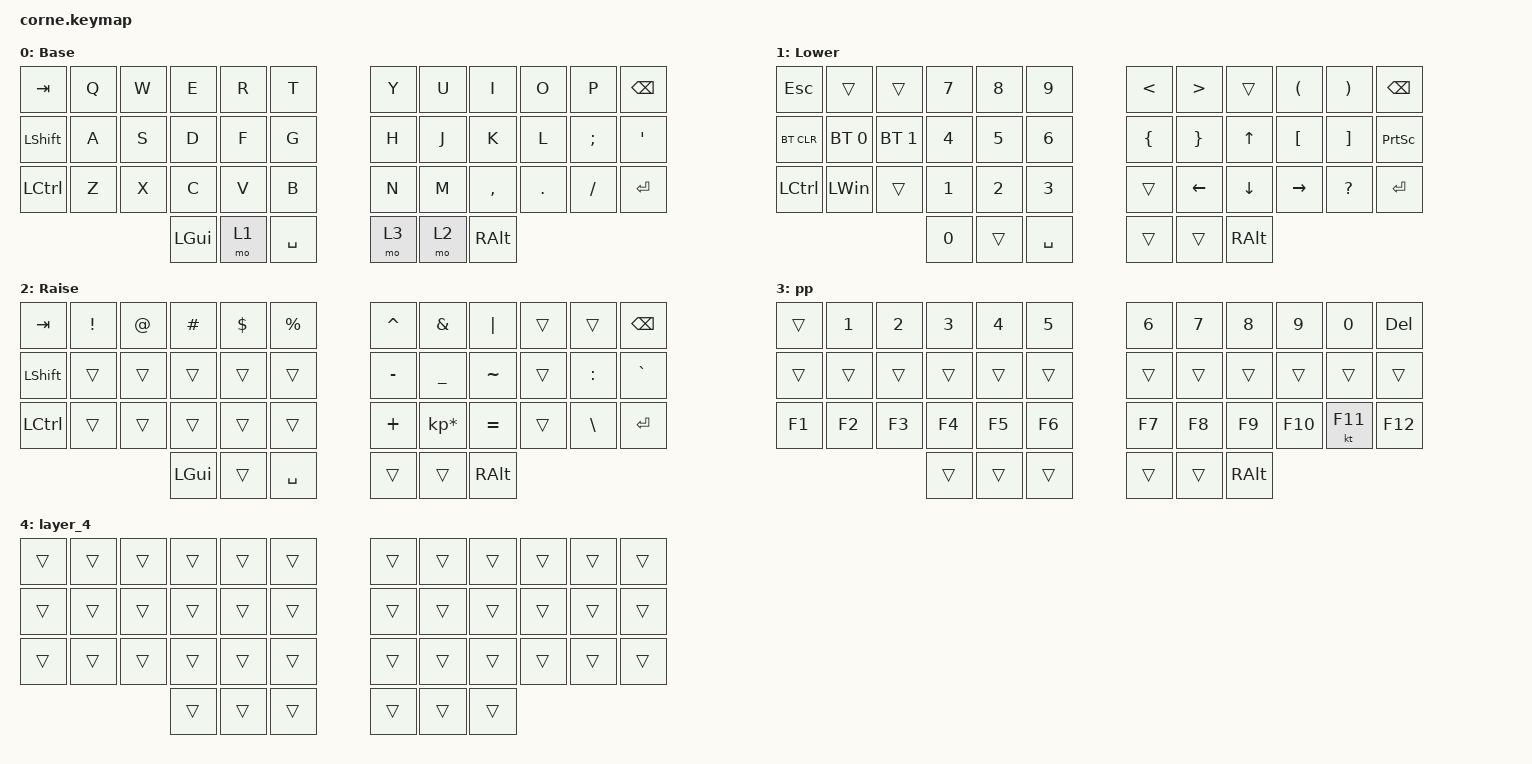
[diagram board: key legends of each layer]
/*
 * Copyright (c) 2020 The ZMK Contributors
 *
 * SPDX-License-Identifier: MIT
 */

#include <behaviors.dtsi>
#include <dt-bindings/zmk/bt.h>
#include <dt-bindings/zmk/keys.h>

/ {
    keymap {
        compatible = "zmk,keymap";

        default_layer {
            // -----------------------------------------------------------------------------------------
            // |  TAB |  Q  |  W  |  E  |  R  |  T  |   |  Y  |  U   |  I  |  O  |  P  | BKSP |
            // | CTRL |  A  |  S  |  D  |  F  |  G  |   |  H  |  J   |  K  |  L  |  ;  |  '   |
            // | SHFT |  Z  |  X  |  C  |  V  |  B  |   |  N  |  M   |  ,  |  .  |  /  | ESC  |
            //                    | GUI | LWR | SPC |   | ENT | RSE  | ALT |

            display-name = "Base";
            bindings = <
&kp TAB           &kp Q  &kp W  &kp E     &kp R  &kp T        &kp Y  &kp U  &kp I      &kp O    &kp P     &kp BSPC
&kp LEFT_SHIFT    &kp A  &kp S  &kp D     &kp F  &kp G        &kp H  &kp J  &kp K      &kp L    &kp SEMI  &kp SQT
&kp LEFT_CONTROL  &kp Z  &kp X  &kp C     &kp V  &kp B        &kp N  &kp M  &kp COMMA  &kp DOT  &kp FSLH  &kp RET
                                &kp LGUI  &mo 1  &kp SPACE    &mo 3  &mo 2  &kp RALT
            >;
        };

        lower_layer {
            // -----------------------------------------------------------------------------------------
            // |  TAB |  1  |  2  |  3  |  4  |  5  |   |  6  |  7  |  8  |  9  |  0  | BKSP |
            // | BTCLR| BT1 | BT2 | BT3 | BT4 | BT5 |   | LFT | DWN |  UP | RGT |     |      |
            // | SHFT |     |     |     |     |     |   |     |     |     |     |     |      |
            //                    | GUI |     | SPC |   | ENT |     | ALT |

            display-name = "Lower";
            bindings = <
&kp ESC           &trans        &trans        &kp N7  &kp N8  &kp N9       &kp LESS_THAN   &kp GREATER_THAN  &trans    &kp LEFT_PARENTHESIS  &kp RIGHT_PARENTHESIS  &kp BSPC
&bt BT_CLR        &bt BT_SEL 0  &bt BT_SEL 1  &kp N4  &kp N5  &kp N6       &kp LEFT_BRACE  &kp RIGHT_BRACE   &kp UP    &kp LEFT_BRACKET      &kp RIGHT_BRACKET      &kp PRINTSCREEN
&kp LEFT_CONTROL  &kp LEFT_WIN  &trans        &kp N1  &kp N2  &kp N3       &trans          &kp LEFT          &kp DOWN  &kp RIGHT             &kp QUESTION           &kp RET
                                              &kp N0  &trans  &kp SPACE    &trans          &trans            &kp RALT
            >;
        };

        raise_layer {
            // -----------------------------------------------------------------------------------------
            // |  TAB |  !  |  @  |  #  |  $  |  %  |   |  ^  |  &  |  *  |  (  |  )  | BKSP |
            // | CTRL |     |     |     |     |     |   |  -  |  =  |  [  |  ]  |  \  |  `   |
            // | SHFT |     |     |     |     |     |   |  _  |  +  |  {  |  }  | "|" |  ~   |
            //                    | GUI |     | SPC |   | ENT |     | ALT |

            display-name = "Raise";
            bindings = <
&kp TAB           &kp EXCL  &kp AT  &kp HASH  &kp DLLR  &kp PRCNT    &kp CARET  &kp AMPS         &kp PIPE   &trans  &trans         &kp BSPC
&kp LEFT_SHIFT    &trans    &trans  &trans    &trans    &trans       &kp MINUS  &kp UNDER        &kp TILDE  &trans  &kp COLON      &kp GRAVE
&kp LEFT_CONTROL  &trans    &trans  &trans    &trans    &trans       &kp PLUS   &kp KP_MULTIPLY  &kp EQUAL  &trans  &kp BACKSLASH  &kp RET
                                    &kp LGUI  &trans    &kp SPACE    &trans     &trans           &kp RALT
            >;
        };

        pp {
            bindings = <
&trans  &kp N1  &kp N2  &kp N3  &kp N4  &kp N5    &kp N6  &kp N7  &kp N8         &kp N9   &kp N0   &kp DELETE
&trans  &trans  &trans  &trans  &trans  &trans    &trans  &trans  &trans         &trans   &trans   &trans
&kp F1  &kp F2  &kp F3  &kp F4  &kp F5  &kp F6    &kp F7  &kp F8  &kp F9         &kp F10  &kt F11  &kp F12
                        &trans  &trans  &trans    &trans  &trans  &kp RIGHT_ALT
            >;
        };

        layer_4 {
            bindings = <
&trans  &trans  &trans  &trans  &trans  &trans    &trans  &trans  &trans  &trans  &trans  &trans
&trans  &trans  &trans  &trans  &trans  &trans    &trans  &trans  &trans  &trans  &trans  &trans
&trans  &trans  &trans  &trans  &trans  &trans    &trans  &trans  &trans  &trans  &trans  &trans
                        &trans  &trans  &trans    &trans  &trans  &trans
            >;
        };
    };
};
